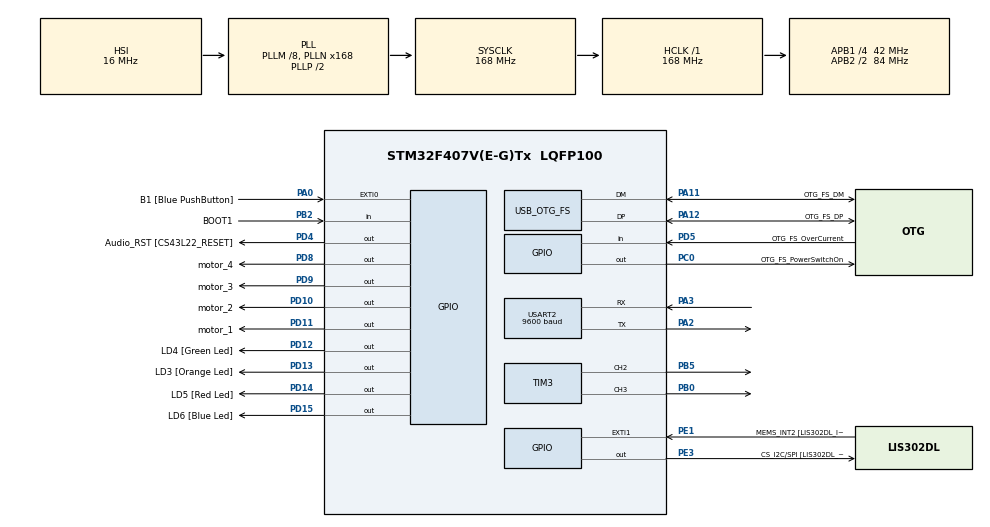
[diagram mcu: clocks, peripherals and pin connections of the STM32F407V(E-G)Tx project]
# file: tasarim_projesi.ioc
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Mcu.Family=STM32F4
Mcu.Name=STM32F407V(E-G)Tx
Mcu.Package=LQFP100
NVIC.OTG_FS_IRQn=true\:0\:0\:false\:false\:true\:false\:true\:true
NVIC.PriorityGroup=NVIC_PRIORITYGROUP_0
NVIC.TIM3_IRQn=true\:0\:0\:false\:false\:true\:true\:true\:true
NVIC.USART2_IRQn=true\:0\:0\:false\:false\:true\:true\:true\:true
PA0-WKUP.GPIO_Label=B1 [Blue PushButton]
PA0-WKUP.Signal=GPXTI0
PA10.GPIO_Label=OTG_FS_ID
PA10.GPIO_Mode=GPIO_MODE_AF_PP
PA10.GPIO_PuPd=GPIO_NOPULL
PA10.GPIO_Speed=GPIO_SPEED_FREQ_LOW
PA10.Signal=USB_OTG_FS_ID
PA11.GPIO_Label=OTG_FS_DM
PA11.GPIO_Mode=GPIO_MODE_AF_PP
PA11.GPIO_PuPd=GPIO_NOPULL
PA11.GPIO_Speed=GPIO_SPEED_FREQ_LOW
PA11.Mode=Host_Only
PA11.Signal=USB_OTG_FS_DM
PA12.GPIO_Label=OTG_FS_DP
PA12.GPIO_Mode=GPIO_MODE_AF_PP
PA12.GPIO_PuPd=GPIO_NOPULL
PA12.GPIO_Speed=GPIO_SPEED_FREQ_LOW
PA12.Mode=Host_Only
PA12.Signal=USB_OTG_FS_DP
PA13.GPIO_Label=SWDIO
PA13.Signal=SYS_JTMS-SWDIO
PA14.GPIO_Label=SWCLK
PA14.Signal=SYS_JTCK-SWCLK
PA2.Mode=Asynchronous
PA2.Signal=USART2_TX
PA3.Mode=Asynchronous
PA3.Signal=USART2_RX
PA4.GPIO_Label=I2S3_WS [CS43L22_LRCK]
PA4.GPIO_Mode=GPIO_MODE_AF_PP
PA4.GPIO_PuPd=GPIO_NOPULL
PA4.GPIO_Speed=GPIO_SPEED_FREQ_LOW
PA4.Signal=I2S3_WS
PA5.GPIO_Label=SPI1_SCK [LIS302DL_SCL/SPC]
PA5.GPIO_Mode=GPIO_MODE_AF_PP
PA5.GPIO_PuPd=GPIO_NOPULL
PA5.GPIO_Speed=GPIO_SPEED_FREQ_LOW
PA5.Signal=SPI1_SCK
PA6.GPIO_Label=SPI1_MISO [LIS302DL_SDO]
PA6.GPIO_Mode=GPIO_MODE_AF_PP
PA6.GPIO_PuPd=GPIO_NOPULL
PA6.GPIO_Speed=GPIO_SPEED_FREQ_LOW
PA6.Signal=SPI1_MISO
PA7.GPIO_Label=SPI1_MOSI [LIS302DL_SDA/SDI/SDO]
PA7.GPIO_Mode=GPIO_MODE_AF_PP
PA7.GPIO_PuPd=GPIO_NOPULL
PA7.GPIO_Speed=GPIO_SPEED_FREQ_LOW
PA7.Signal=SPI1_MOSI
PA9.GPIO_Label=VBUS_FS
PA9.GPIO_Mode=GPIO_MODE_INPUT
PA9.GPIO_PuPd=GPIO_NOPULL
PA9.Signal=USB_OTG_FS_VBUS
PB0.Signal=S_TIM3_CH3
PB10.GPIO_Label=CLK_IN [MP45DT02_CLK]
PB10.GPIO_Mode=GPIO_MODE_AF_PP
PB10.GPIO_PuPd=GPIO_NOPULL
PB10.GPIO_Speed=GPIO_SPEED_FREQ_LOW
PB10.Signal=I2S2_CK
PB2.GPIO_Label=BOOT1
PB2.GPIO_Mode=GPIO_MODE_INPUT
PB2.GPIO_PuPd=GPIO_NOPULL
PB2.Signal=GPIO_Input
PB3.GPIO_Label=SWO
PB3.Signal=SYS_JTDO-SWO
PB5.Signal=S_TIM3_CH2
PB6.GPIO_Label=Audio_SCL [CS43L22_SCL]
PB6.GPIO_Mode=GPIO_MODE_AF_OD
PB6.GPIO_PuPd=GPIO_NOPULL
PB6.GPIO_Speed=GPIO_SPEED_FREQ_LOW
PB6.Signal=I2C1_SCL
PB9.GPIO_Label=Audio_SDA [CS43L22_SDA]
PB9.GPIO_Mode=GPIO_MODE_AF_OD
PB9.GPIO_PuPd=GPIO_NOPULL
PB9.GPIO_Speed=GPIO_SPEED_FREQ_LOW
PB9.Signal=I2C1_SDA
PC0.GPIO_Label=OTG_FS_PowerSwitchOn
PC0.GPIO_PuPd=GPIO_NOPULL
PC0.GPIO_Speed=GPIO_SPEED_FREQ_LOW
PC0.PinState=GPIO_PIN_SET
PC0.Signal=GPIO_Output
PC10.GPIO_Label=I2S3_SCK [CS43L22_SCLK]
PC10.GPIO_Mode=GPIO_MODE_AF_PP
PC10.GPIO_PuPd=GPIO_NOPULL
PC10.GPIO_Speed=GPIO_SPEED_FREQ_LOW
PC10.Signal=I2S3_CK
PC12.GPIO_Label=I2S3_SD [CS43L22_SDIN]
PC12.GPIO_Mode=GPIO_MODE_AF_PP
PC12.GPIO_PuPd=GPIO_NOPULL
PC12.GPIO_Speed=GPIO_SPEED_FREQ_LOW
PC12.Signal=I2S3_SD
PC14-OSC32_IN.GPIO_Label=PC14-OSC32_IN
PC14-OSC32_IN.Signal=RCC_OSC32_IN
PC15-OSC32_OUT.GPIO_Label=PC15-OSC32_OUT
PC15-OSC32_OUT.Signal=RCC_OSC32_OUT
PC3.GPIO_Label=PDM_OUT [MP45DT02_DOUT]
PC3.GPIO_Mode=GPIO_MODE_AF_PP
PC3.GPIO_PuPd=GPIO_NOPULL
PC3.GPIO_Speed=GPIO_SPEED_FREQ_LOW
PC3.Signal=I2S2_SD
PC7.GPIO_Label=I2S3_MCK [CS43L22_MCLK]
PC7.GPIO_Mode=GPIO_MODE_AF_PP
PC7.GPIO_PuPd=GPIO_NOPULL
PC7.GPIO_Speed=GPIO_SPEED_FREQ_LOW
PC7.Signal=I2S3_MCK
PD10.GPIO_Label=motor_2
PD10.Signal=GPIO_Output
PD11.GPIO_Label=motor_1
PD11.Signal=GPIO_Output
PD12.GPIO_Label=LD4 [Green Led]
PD12.GPIO_PuPd=GPIO_NOPULL
PD12.GPIO_Speed=GPIO_SPEED_FREQ_LOW
PD12.Signal=GPIO_Output
PD13.GPIO_Label=LD3 [Orange Led]
PD13.GPIO_PuPd=GPIO_NOPULL
PD13.GPIO_Speed=GPIO_SPEED_FREQ_LOW
PD13.Signal=GPIO_Output
PD14.GPIO_Label=LD5 [Red Led]
PD14.GPIO_PuPd=GPIO_NOPULL
PD14.GPIO_Speed=GPIO_SPEED_FREQ_LOW
PD14.Signal=GPIO_Output
PD15.GPIO_Label=LD6 [Blue Led]
PD15.GPIO_PuPd=GPIO_NOPULL
PD15.GPIO_Speed=GPIO_SPEED_FREQ_LOW
PD15.Signal=GPIO_Output
PD4.GPIO_Label=Audio_RST [CS43L22_RESET]
PD4.GPIO_PuPd=GPIO_NOPULL
PD4.GPIO_Speed=GPIO_SPEED_FREQ_LOW
PD4.Signal=GPIO_Output
PD5.GPIO_Label=OTG_FS_OverCurrent
PD5.GPIO_Mode=GPIO_MODE_INPUT
PD5.GPIO_PuPd=GPIO_NOPULL
PD5.Signal=GPIO_Input
PD8.GPIO_Label=motor_4
PD8.Signal=GPIO_Output
PD9.GPIO_Label=motor_3
PD9.Signal=GPIO_Output
PE1.GPIO_Label=MEMS_INT2 [LIS302DL_INT2]
PE1.GPIO_ModeDefaultEXTI=GPIO_MODE_EVT_RISING
PE1.GPIO_PuPd=GPIO_NOPULL
PE1.Signal=GPXTI1
PE3.GPIO_Label=CS_I2C/SPI [LIS302DL_CS_I2C/SPI]
PE3.GPIO_PuPd=GPIO_NOPULL
PE3.GPIO_Speed=GPIO_SPEED_FREQ_LOW
PE3.Signal=GPIO_Output
PH0-OSC_IN.GPIO_Label=PH0-OSC_IN
PH0-OSC_IN.Signal=RCC_OSC_IN
PH1-OSC_OUT.GPIO_Label=PH1-OSC_OUT
PH1-OSC_OUT.Signal=RCC_OSC_OUT
ProjectManager.HeapSize=0x200
ProjectManager.StackSize=0x400
ProjectManager.TargetToolchain=STM32CubeIDE
RCC.48MHZClocksFreq_Value=48000000
RCC.AHBFreq_Value=168000000
RCC.APB1CLKDivider=RCC_HCLK_DIV4
RCC.APB1Freq_Value=42000000
RCC.APB1TimFreq_Value=84000000
RCC.APB2CLKDivider=RCC_HCLK_DIV2
RCC.APB2Freq_Value=84000000
RCC.APB2TimFreq_Value=168000000
RCC.CortexFreq_Value=168000000
RCC.HCLKFreq_Value=168000000
RCC.HSE_VALUE=8000000
RCC.HSI_VALUE=16000000
RCC.LSE_VALUE=32768
RCC.PLLM=8
RCC.PLLN=168
RCC.PLLQ=7
RCC.PLLSourceVirtualString=RCC_PLLSOURCE_HSI
RCC.SYSCLKFreq_VALUE=168000000
RCC.SYSCLKSource=RCC_SYSCLKSOURCE_PLLCLK
RCC.VCOOutputFreq_Value=336000000
SH.S_TIM3_CH2.0=TIM3_CH2,PWM Generation2 CH2
SH.S_TIM3_CH3.0=TIM3_CH3,PWM Generation3 CH3
TIM3.Channel-PWM\ Generation2\ CH2=TIM_CHANNEL_2
TIM3.Channel-PWM\ Generation3\ CH3=TIM_CHANNEL_3
USART2.BaudRate=9600
USART2.VirtualMode=VM_ASYNC
USB_HOST.USBH_HandleTypeDef-MSC_FS=hUsbHostFS
USB_HOST.VirtualModeFS=Msc
USB_OTG_FS.VirtualMode=Host_Only
USB_OTG_FS.phy_itface=HCD_PHY_EMBEDDED
VP_USB_HOST_VS_USB_HOST_MSC_FS.Mode=MSC_FS
board=STM32F407G-DISC1

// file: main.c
/* USER CODE BEGIN Header */
/**
  ******************************************************************************
  * @file           : main.c
  * @brief          : Main program body
  ******************************************************************************
  * @attention
  *
  * Copyright (c) 2026 STMicroelectronics.
  * All rights reserved.
  *
  * This software is licensed under terms that can be found in the LICENSE file
  * in the root directory of this software component.
  * If no LICENSE file comes with this software, it is provided AS-IS.
  *
  ******************************************************************************
  */
/* USER CODE END Header */
#include "main.h"
#include "usb_host.h"

TIM_HandleTypeDef htim3;

UART_HandleTypeDef huart2;

/* USER CODE BEGIN PV */
char rx_buffer[50];
/* USER CODE END PV */

void SystemClock_Config(void);
static void MX_GPIO_Init(void);
static void MX_TIM3_Init(void);
static void MX_USART2_UART_Init(void);
void MX_USB_HOST_Process(void);

int main(void)
{

  /* MCU Configuration--------------------------------------------------------*/

  /* Reset of all peripherals, Initializes the Flash interface and the Systick. */
  HAL_Init();

  /* Configure the system clock */
  SystemClock_Config();

  /* Initialize all configured peripherals */
  MX_GPIO_Init();
  MX_TIM3_Init();
  MX_USART2_UART_Init();
  MX_USB_HOST_Init();
  /* USER CODE BEGIN 2 */
HAL_TIM_PWM_Start(&htim3, TIM_CHANNEL_2);
HAL_TIM_PWM_Start(&htim3, TIM_CHANNEL_3);
  /* USER CODE END 2 */

  /* Infinite loop */
  while (1)
  {
    MX_USB_HOST_Process();

    /* USER CODE BEGIN 3 */

	HAL_UART_Receive(&huart2, (uint8_t*)rx_buffer, 50, 100);
		if(rx_buffer[0]=='k' && rx_buffer[1]=='i' && rx_buffer[2]=='r' && rx_buffer[3]=='m' && rx_buffer[4]=='i' && rx_buffer[5]=='z' && rx_buffer[6]=='i')
		{
			__HAL_TIM_SET_COMPARE(&htim3, TIM_CHANNEL_2, 0);
			HAL_GPIO_WritePin(motor_1_GPIO_Port, motor_1_Pin, 1);
			HAL_GPIO_WritePin(motor_2_GPIO_Port, motor_2_Pin, 0);
			__HAL_TIM_SET_COMPARE(&htim3, TIM_CHANNEL_3, 0);
			HAL_GPIO_WritePin(motor_3_GPIO_Port, motor_3_Pin, 1);
			HAL_GPIO_WritePin(motor_4_GPIO_Port, motor_4_Pin, 0);
		}
		else if(rx_buffer[0] == 's' && rx_buffer[1]== 'a' && rx_buffer[2]== 'r' && rx_buffer[3]== 'i')
		{
			__HAL_TIM_SET_COMPARE(&htim3, TIM_CHANNEL_2, 300);
			HAL_GPIO_WritePin(motor_1_GPIO_Port, motor_1_Pin, 1);
			HAL_GPIO_WritePin(motor_2_GPIO_Port, motor_2_Pin, 0);
			__HAL_TIM_SET_COMPARE(&htim3, TIM_CHANNEL_3, 500);
			HAL_GPIO_WritePin(motor_3_GPIO_Port, motor_3_Pin, 1);
			HAL_GPIO_WritePin(motor_4_GPIO_Port, motor_4_Pin, 0);
		}
		else if(rx_buffer[0] == 'y' && rx_buffer[1]== 'e' && rx_buffer[2]== 's' && rx_buffer[3]== 'i' && rx_buffer[4]== 'l')
		{
			__HAL_TIM_SET_COMPARE(&htim3, TIM_CHANNEL_2, 700);
			HAL_GPIO_WritePin(motor_1_GPIO_Port, motor_1_Pin, 1);
			HAL_GPIO_WritePin(motor_2_GPIO_Port, motor_2_Pin, 0);
			__HAL_TIM_SET_COMPARE(&htim3, TIM_CHANNEL_3, 1000);
			HAL_GPIO_WritePin(motor_3_GPIO_Port, motor_3_Pin, 1);
			HAL_GPIO_WritePin(motor_4_GPIO_Port, motor_4_Pin, 0);
		}
  }
  /* USER CODE END 3 */
}

void SystemClock_Config(void)
{
  RCC_OscInitTypeDef RCC_OscInitStruct = {0};
  RCC_ClkInitTypeDef RCC_ClkInitStruct = {0};

  /** Configure the main internal regulator output voltage
  */
  __HAL_RCC_PWR_CLK_ENABLE();
  __HAL_PWR_VOLTAGESCALING_CONFIG(PWR_REGULATOR_VOLTAGE_SCALE1);

  /** Initializes the RCC Oscillators according to the specified parameters
  * in the RCC_OscInitTypeDef structure.
  */
  RCC_OscInitStruct.OscillatorType = RCC_OSCILLATORTYPE_HSI;
  RCC_OscInitStruct.HSIState = RCC_HSI_ON;
  RCC_OscInitStruct.HSICalibrationValue = RCC_HSICALIBRATION_DEFAULT;
  RCC_OscInitStruct.PLL.PLLState = RCC_PLL_ON;
  RCC_OscInitStruct.PLL.PLLSource = RCC_PLLSOURCE_HSI;
  RCC_OscInitStruct.PLL.PLLM = 8;
  RCC_OscInitStruct.PLL.PLLN = 168;
  RCC_OscInitStruct.PLL.PLLP = RCC_PLLP_DIV2;
  RCC_OscInitStruct.PLL.PLLQ = 7;
  if (HAL_RCC_OscConfig(&RCC_OscInitStruct) != HAL_OK)
  {
    Error_Handler();
  }

  /** Initializes the CPU, AHB and APB buses clocks
  */
  RCC_ClkInitStruct.ClockType = RCC_CLOCKTYPE_HCLK|RCC_CLOCKTYPE_SYSCLK
                              |RCC_CLOCKTYPE_PCLK1|RCC_CLOCKTYPE_PCLK2;
  RCC_ClkInitStruct.SYSCLKSource = RCC_SYSCLKSOURCE_PLLCLK;
  RCC_ClkInitStruct.AHBCLKDivider = RCC_SYSCLK_DIV1;
  RCC_ClkInitStruct.APB1CLKDivider = RCC_HCLK_DIV4;
  RCC_ClkInitStruct.APB2CLKDivider = RCC_HCLK_DIV2;

  if (HAL_RCC_ClockConfig(&RCC_ClkInitStruct, FLASH_LATENCY_5) != HAL_OK)
  {
    Error_Handler();
  }
}

static void MX_TIM3_Init(void)
{

  TIM_MasterConfigTypeDef sMasterConfig = {0};
  TIM_OC_InitTypeDef sConfigOC = {0};

  htim3.Instance = TIM3;
  htim3.Init.Prescaler = 0;
  htim3.Init.CounterMode = TIM_COUNTERMODE_UP;
  htim3.Init.Period = 65535;
  htim3.Init.ClockDivision = TIM_CLOCKDIVISION_DIV1;
  htim3.Init.AutoReloadPreload = TIM_AUTORELOAD_PRELOAD_DISABLE;
  if (HAL_TIM_PWM_Init(&htim3) != HAL_OK)
  {
    Error_Handler();
  }
  sMasterConfig.MasterOutputTrigger = TIM_TRGO_RESET;
  sMasterConfig.MasterSlaveMode = TIM_MASTERSLAVEMODE_DISABLE;
  if (HAL_TIMEx_MasterConfigSynchronization(&htim3, &sMasterConfig) != HAL_OK)
  {
    Error_Handler();
  }
  sConfigOC.OCMode = TIM_OCMODE_PWM1;
  sConfigOC.Pulse = 0;
  sConfigOC.OCPolarity = TIM_OCPOLARITY_HIGH;
  sConfigOC.OCFastMode = TIM_OCFAST_DISABLE;
  if (HAL_TIM_PWM_ConfigChannel(&htim3, &sConfigOC, TIM_CHANNEL_2) != HAL_OK)
  {
    Error_Handler();
  }
  if (HAL_TIM_PWM_ConfigChannel(&htim3, &sConfigOC, TIM_CHANNEL_3) != HAL_OK)
  {
    Error_Handler();
  }
  HAL_TIM_MspPostInit(&htim3);

}

static void MX_USART2_UART_Init(void)
{

  huart2.Instance = USART2;
  huart2.Init.BaudRate = 9600;
  huart2.Init.WordLength = UART_WORDLENGTH_8B;
  huart2.Init.StopBits = UART_STOPBITS_1;
  huart2.Init.Parity = UART_PARITY_NONE;
  huart2.Init.Mode = UART_MODE_TX_RX;
  huart2.Init.HwFlowCtl = UART_HWCONTROL_NONE;
  huart2.Init.OverSampling = UART_OVERSAMPLING_16;
  if (HAL_UART_Init(&huart2) != HAL_OK)
  {
    Error_Handler();
  }

}

static void MX_GPIO_Init(void)
{
  GPIO_InitTypeDef GPIO_InitStruct = {0};

  /* GPIO Ports Clock Enable */
  __HAL_RCC_GPIOE_CLK_ENABLE();
  __HAL_RCC_GPIOC_CLK_ENABLE();
  __HAL_RCC_GPIOH_CLK_ENABLE();
  __HAL_RCC_GPIOA_CLK_ENABLE();
  __HAL_RCC_GPIOB_CLK_ENABLE();
  __HAL_RCC_GPIOD_CLK_ENABLE();

  /*Configure GPIO pin Output Level */
  HAL_GPIO_WritePin(CS_I2C_SPI_GPIO_Port, CS_I2C_SPI_Pin, GPIO_PIN_RESET);

  /*Configure GPIO pin Output Level */
  HAL_GPIO_WritePin(OTG_FS_PowerSwitchOn_GPIO_Port, OTG_FS_PowerSwitchOn_Pin, GPIO_PIN_SET);

  /*Configure GPIO pin Output Level */
  HAL_GPIO_WritePin(GPIOD, motor_4_Pin|motor_3_Pin|motor_2_Pin|motor_1_Pin
                          |LD4_Pin|LD3_Pin|LD5_Pin|LD6_Pin
                          |Audio_RST_Pin, GPIO_PIN_RESET);

  /*Configure GPIO pin : CS_I2C_SPI_Pin */
  GPIO_InitStruct.Pin = CS_I2C_SPI_Pin;
  GPIO_InitStruct.Mode = GPIO_MODE_OUTPUT_PP;
  GPIO_InitStruct.Pull = GPIO_NOPULL;
  GPIO_InitStruct.Speed = GPIO_SPEED_FREQ_LOW;
  HAL_GPIO_Init(CS_I2C_SPI_GPIO_Port, &GPIO_InitStruct);

  /*Configure GPIO pin : OTG_FS_PowerSwitchOn_Pin */
  GPIO_InitStruct.Pin = OTG_FS_PowerSwitchOn_Pin;
  GPIO_InitStruct.Mode = GPIO_MODE_OUTPUT_PP;
  GPIO_InitStruct.Pull = GPIO_NOPULL;
  GPIO_InitStruct.Speed = GPIO_SPEED_FREQ_LOW;
  HAL_GPIO_Init(OTG_FS_PowerSwitchOn_GPIO_Port, &GPIO_InitStruct);

  /*Configure GPIO pin : PDM_OUT_Pin */
  GPIO_InitStruct.Pin = PDM_OUT_Pin;
  GPIO_InitStruct.Mode = GPIO_MODE_AF_PP;
  GPIO_InitStruct.Pull = GPIO_NOPULL;
  GPIO_InitStruct.Speed = GPIO_SPEED_FREQ_LOW;
  GPIO_InitStruct.Alternate = GPIO_AF5_SPI2;
  HAL_GPIO_Init(PDM_OUT_GPIO_Port, &GPIO_InitStruct);

  /*Configure GPIO pin : B1_Pin */
  GPIO_InitStruct.Pin = B1_Pin;
  GPIO_InitStruct.Mode = GPIO_MODE_IT_RISING;
  GPIO_InitStruct.Pull = GPIO_NOPULL;
  HAL_GPIO_Init(B1_GPIO_Port, &GPIO_InitStruct);

  /*Configure GPIO pin : I2S3_WS_Pin */
  GPIO_InitStruct.Pin = I2S3_WS_Pin;
  GPIO_InitStruct.Mode = GPIO_MODE_AF_PP;
  GPIO_InitStruct.Pull = GPIO_NOPULL;
  GPIO_InitStruct.Speed = GPIO_SPEED_FREQ_LOW;
  GPIO_InitStruct.Alternate = GPIO_AF6_SPI3;
  HAL_GPIO_Init(I2S3_WS_GPIO_Port, &GPIO_InitStruct);

  /*Configure GPIO pins : SPI1_SCK_Pin SPI1_MISO_Pin SPI1_MOSI_Pin */
  GPIO_InitStruct.Pin = SPI1_SCK_Pin|SPI1_MISO_Pin|SPI1_MOSI_Pin;
  GPIO_InitStruct.Mode = GPIO_MODE_AF_PP;
  GPIO_InitStruct.Pull = GPIO_NOPULL;
  GPIO_InitStruct.Speed = GPIO_SPEED_FREQ_LOW;
  GPIO_InitStruct.Alternate = GPIO_AF5_SPI1;
  HAL_GPIO_Init(GPIOA, &GPIO_InitStruct);

  /*Configure GPIO pin : BOOT1_Pin */
  GPIO_InitStruct.Pin = BOOT1_Pin;
  GPIO_InitStruct.Mode = GPIO_MODE_INPUT;
  GPIO_InitStruct.Pull = GPIO_NOPULL;
  HAL_GPIO_Init(BOOT1_GPIO_Port, &GPIO_InitStruct);

  /*Configure GPIO pin : CLK_IN_Pin */
  GPIO_InitStruct.Pin = CLK_IN_Pin;
  GPIO_InitStruct.Mode = GPIO_MODE_AF_PP;
  GPIO_InitStruct.Pull = GPIO_NOPULL;
  GPIO_InitStruct.Speed = GPIO_SPEED_FREQ_LOW;
  GPIO_InitStruct.Alternate = GPIO_AF5_SPI2;
  HAL_GPIO_Init(CLK_IN_GPIO_Port, &GPIO_InitStruct);

  /*Configure GPIO pins : motor_4_Pin motor_3_Pin motor_2_Pin motor_1_Pin
                           LD4_Pin LD3_Pin LD5_Pin LD6_Pin
                           Audio_RST_Pin */
  GPIO_InitStruct.Pin = motor_4_Pin|motor_3_Pin|motor_2_Pin|motor_1_Pin
                          |LD4_Pin|LD3_Pin|LD5_Pin|LD6_Pin
                          |Audio_RST_Pin;
  GPIO_InitStruct.Mode = GPIO_MODE_OUTPUT_PP;
  GPIO_InitStruct.Pull = GPIO_NOPULL;
  GPIO_InitStruct.Speed = GPIO_SPEED_FREQ_LOW;
  HAL_GPIO_Init(GPIOD, &GPIO_InitStruct);

  /*Configure GPIO pins : I2S3_MCK_Pin I2S3_SCK_Pin I2S3_SD_Pin */
  GPIO_InitStruct.Pin = I2S3_MCK_Pin|I2S3_SCK_Pin|I2S3_SD_Pin;
  GPIO_InitStruct.Mode = GPIO_MODE_AF_PP;
  GPIO_InitStruct.Pull = GPIO_NOPULL;
  GPIO_InitStruct.Speed = GPIO_SPEED_FREQ_LOW;
  GPIO_InitStruct.Alternate = GPIO_AF6_SPI3;
  HAL_GPIO_Init(GPIOC, &GPIO_InitStruct);

  /*Configure GPIO pin : OTG_FS_OverCurrent_Pin */
  GPIO_InitStruct.Pin = OTG_FS_OverCurrent_Pin;
  GPIO_InitStruct.Mode = GPIO_MODE_INPUT;
  GPIO_InitStruct.Pull = GPIO_NOPULL;
  HAL_GPIO_Init(OTG_FS_OverCurrent_GPIO_Port, &GPIO_InitStruct);

  /*Configure GPIO pins : Audio_SCL_Pin Audio_SDA_Pin */
  GPIO_InitStruct.Pin = Audio_SCL_Pin|Audio_SDA_Pin;
  GPIO_InitStruct.Mode = GPIO_MODE_AF_OD;
  GPIO_InitStruct.Pull = GPIO_NOPULL;
  GPIO_InitStruct.Speed = GPIO_SPEED_FREQ_LOW;
  GPIO_InitStruct.Alternate = GPIO_AF4_I2C1;
  HAL_GPIO_Init(GPIOB, &GPIO_InitStruct);

  /*Configure GPIO pin : MEMS_INT2_Pin */
  GPIO_InitStruct.Pin = MEMS_INT2_Pin;
  GPIO_InitStruct.Mode = GPIO_MODE_EVT_RISING;
  GPIO_InitStruct.Pull = GPIO_NOPULL;
  HAL_GPIO_Init(MEMS_INT2_GPIO_Port, &GPIO_InitStruct);

}

void Error_Handler(void)
{
  __disable_irq();
  while (1)
  {
  }
}
